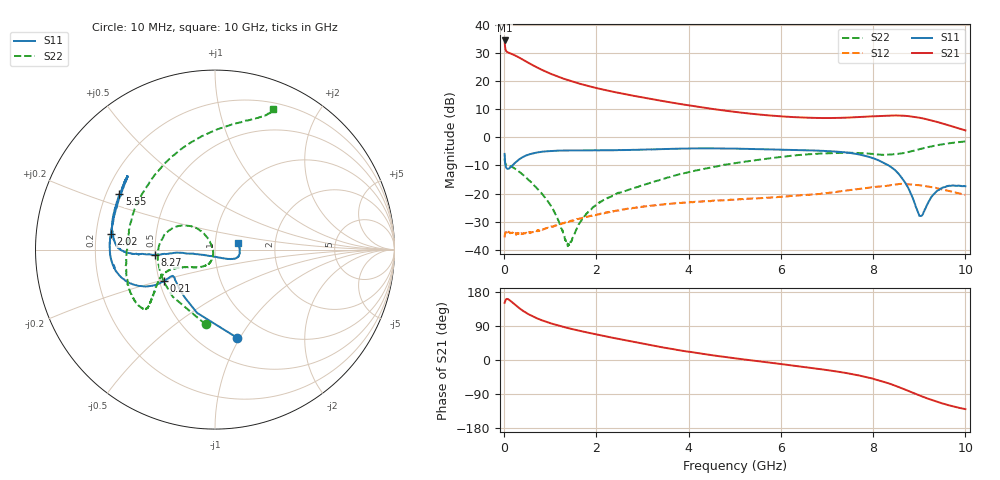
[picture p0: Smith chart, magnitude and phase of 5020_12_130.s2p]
# Hz S  dB  R 50
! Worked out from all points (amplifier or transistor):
!   1000 points, 10 MHz to 10 GHz, reference 50 ohm
!   highest |S21| = 34.4 dB at 10 MHz (marker M1)
!   |S21| within 3 dB of that: start of sweep to 27.77 MHz
!   unconditionally stable (mu >= 1): 70.94 MHz to end of sweep
!   at 1.67 GHz: K = 1.18, MAG = 21.3 dB, |S12| = -28.9 dB
!   at 5.01 GHz: K = 1.11, MAG = 13.5 dB, |S12| = -22.2 dB
!   at 10 GHz: K = 1.10, MAG = 9.5 dB, |S12| = -20.5 dB
!   S11 on the Smith chart (normalised r, x): 10 MHz: 0.74, -0.97; 210 MHz: 0.53, -0.21; 2.02 GHz: 0.26, +0.07; 5.55 GHz: 0.25, +0.25; 8.27 GHz: 0.50, -0.03; 10 GHz: 1.29, +0.09
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1e7  -5.90 -75.9  34.42 150.9  -35.57 35.6  -7.53 -97.1
7e7  -11.22 -145.2  30.29 161.1  -33.47 7.6  -9.88 -173.9
8e7  -11.20 -146.8  30.19 160.7  -33.72 6.5  -9.97 -176.9
1.1e8  -11.04 -148.5  29.99 158.6  -33.83 4.5  -10.09 176.0
2.1e8  -9.50 -148.2  29.30 148.5  -34.14 7.3  -10.91 160.0
3.1e8  -8.03 -149.8  28.47 138.4  -34.37 6.3  -12.05 149.0
4.2e8  -6.91 -153.1  27.47 128.8  -34.30 14.0  -13.50 140.6
5.8e8  -5.90 -158.1  25.98 117.5  -33.88 20.7  -15.89 130.9
7.6e8  -5.28 -163.5  24.44 107.5  -33.34 28.1  -19.00 125.2
9.3e8  -4.98 -167.6  23.14 100.1  -32.26 33.6  -22.34 122.2
1.13e9  -4.78 -172.0  21.79 92.5  -31.27 36.1  -27.90 125.7
1.4e9  -4.67 -177.3  20.23 83.8  -30.13 38.8  -37.92 -169.0
1.68e9  -4.62 177.6  18.87 75.9  -28.73 39.4  -29.41 -108.9
2.02e9  -4.63 171.4  17.43 67.0  -27.38 39.3  -23.86 -108.1
3.34e9  -4.24 147.4  13.16 35.4  -24.07 26.8  -15.35 -144.9
5.01e9  -4.01 143.3  9.03 4.4  -22.18 9.6  -9.20 -152.4
5.55e9  -4.21 149.9  8.07 -3.9  -21.67 4.9  -7.94 -146.3
6.67e9  -4.65 168.6  6.92 -20.8  -20.29 -5.4  -5.98 -139.1
8.27e9  -9.42 -175.1  7.63 -59.1  -17.33 -35.6  -6.22 171.4
8.34e9  -10.04 -174.9  7.69 -61.9  -17.17 -38.0  -6.13 165.5
9.03e9  -27.98 -99.9  6.87 -94.7  -17.10 -68.1  -4.14 100.0
1e10  -17.42 15.2  2.46 -129.7  -20.47 -99.7  -1.46 67.5
